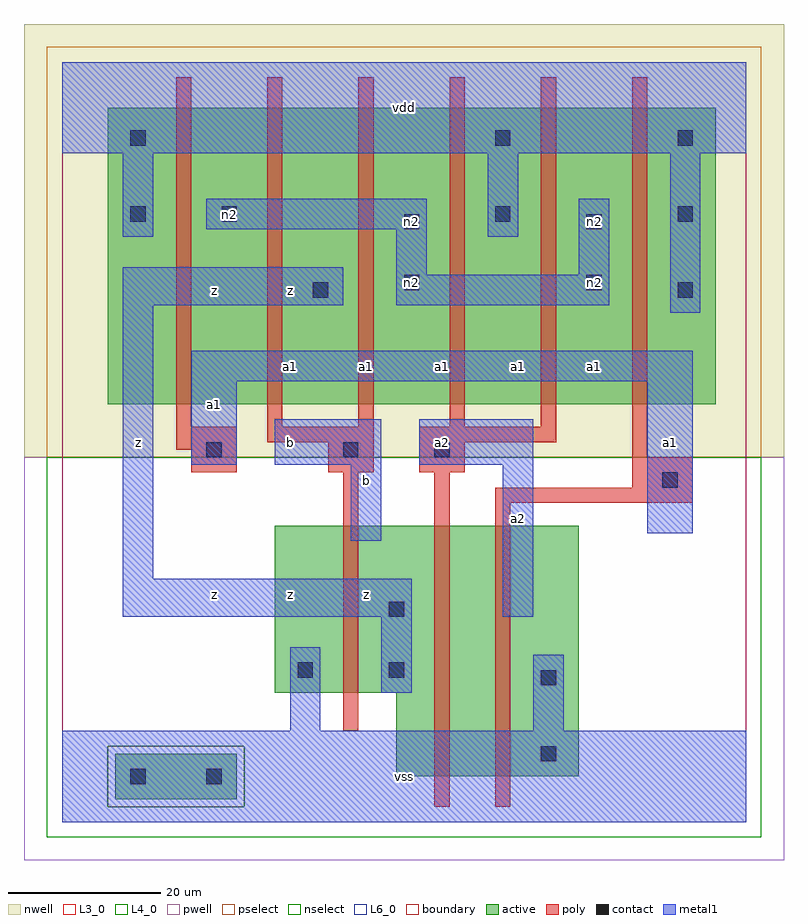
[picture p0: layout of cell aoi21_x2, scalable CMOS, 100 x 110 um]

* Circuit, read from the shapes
.subckt aoi21_x2 a1 a2 b n2 vdd vss z
M1 z b vss vss nfet w=22u l=2u
M2 n1 a2 z vss nfet w=33u l=2u
M3 vss a1 n1 vss nfet w=33u l=2u
M4 n2 a1 vdd n3 pfet w=39u l=2u m=2
M5 z b n2 n3 pfet w=39u l=2u m=2
M6 vdd a2 n2 n3 pfet w=39u l=2u m=2
.ends

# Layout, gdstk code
import gdstk
lib = gdstk.Library(unit=1e-6, precision=1e-09)
def R(c, l, rs):  # rectangles x0, y0, x1, y1
    for r in rs: c.add(gdstk.rectangle(r[:2], r[2:], *l))
def A(c, l, x, y, w, h, nx, ny, dx, dy):  # array of equal rectangles
    R(c, l, [(x+i*dx, y+j*dy, x+i*dx+w, y+j*dy+h) for i in range(nx) for j in range(ny)])
L3_0 = (3, 0)
L4_0 = (4, 0)
L6_0 = (6, 0)
contact = (25, 0)
pwell = (41, 0)
nwell = (42, 0)
active = (43, 0)
pselect = (44, 0)
nselect = (45, 0)
poly = (46, 0)
metal1 = (49, 0)
boundary = (63, 0)

aoi21_x2 = lib.new_cell('aoi21_x2')
R(aoi21_x2, L3_0, [(44,6,68,17), (28,17,68,39)])
R(aoi21_x2, L4_0, [(6,55,86,94)])
R(aoi21_x2, L6_0, [(7,3,23,9)])
A(aoi21_x2, contact, 81, 69, 2, 2, 1, 3, 0, 10)
R(aoi21_x2, contact, [(9,5,11,7), (19,5,21,7), (63,8,65,10), (63,18,65,20), (31,19,33,21), (43,19,45,21), (43,27,45,29), (79,44,81,46), (19,48,21,50), (37,48,39,50), (49,48,51,50), (33,69,35,71), (45,70,47,72), (69,70,71,72), (45,78,47,80), (69,78,71,80), (9,79,11,81), (21,79,23,81), (57,79,59,81), (9,89,11,91), (57,89,59,91)])
R(aoi21_x2, pwell, [(-5,-5,95,48)])
R(aoi21_x2, nwell, [(-5,48,95,105)])
R(aoi21_x2, active, [(7,3,23,9), (44,6,68,17), (28,17,68,39), (6,55,86,94)])
R(aoi21_x2, pselect, [(6,2,24,10), (-2,48,92,102)])
R(aoi21_x2, nselect, [(-2,-2,92,2), (-2,2,6,10), (24,2,92,10), (-2,10,92,48)])
A(aoi21_x2, poly, 15, 52, 2, 46, 5, 1, 12, 0)
R(aoi21_x2, poly, [(49,2,51,46), (57,2,59,42), (37,12,39,46), (57,42,83,44), (75,44,83,48), (17,46,23,49), (35,46,41,50), (47,46,53,50), (75,48,77,98), (15,49,23,52), (27,50,41,52), (47,50,65,52)])
R(aoi21_x2, metal1, [(0,0,90,12), (30,12,34,23), (62,12,66,22), (42,17,46,27), (8,27,46,32), (58,27,62,47), (8,32,12,68), (38,37,42,47), (77,38,83,58), (17,47,23,58), (28,47,42,53), (47,47,62,53), (17,58,83,62), (80,67,84,88), (8,68,37,73), (44,68,72,72), (44,72,48,78), (68,72,72,82), (8,77,12,88), (56,77,60,88), (19,78,48,82), (0,88,90,100)])
R(aoi21_x2, boundary, [(0,0,90,100)])
aoi21_x2.add(gdstk.Label('n2', (22,80), layer=49, texttype=0))
aoi21_x2.add(gdstk.Label('n2', (46,71), layer=49, texttype=0))
aoi21_x2.add(gdstk.Label('n2', (46,79), layer=49, texttype=0))
aoi21_x2.add(gdstk.Label('n2', (70,71), layer=49, texttype=0))
aoi21_x2.add(gdstk.Label('n2', (70,79), layer=49, texttype=0))
aoi21_x2.add(gdstk.Label('z', (10,50), layer=49, texttype=0))
aoi21_x2.add(gdstk.Label('z', (20,30), layer=49, texttype=0))
aoi21_x2.add(gdstk.Label('b', (40,45), layer=49, texttype=0))
aoi21_x2.add(gdstk.Label('z', (40,30), layer=49, texttype=0))
aoi21_x2.add(gdstk.Label('z', (30,30), layer=49, texttype=0))
aoi21_x2.add(gdstk.Label('b', (30,50), layer=49, texttype=0))
aoi21_x2.add(gdstk.Label('a1', (20,55), layer=49, texttype=0))
aoi21_x2.add(gdstk.Label('z', (20,70), layer=49, texttype=0))
aoi21_x2.add(gdstk.Label('a1', (40,60), layer=49, texttype=0))
aoi21_x2.add(gdstk.Label('z', (30,70), layer=49, texttype=0))
aoi21_x2.add(gdstk.Label('a1', (30,60), layer=49, texttype=0))
aoi21_x2.add(gdstk.Label('vss', (45,6), layer=49, texttype=0))
aoi21_x2.add(gdstk.Label('a2', (60,40), layer=49, texttype=0))
aoi21_x2.add(gdstk.Label('a2', (50,50), layer=49, texttype=0))
aoi21_x2.add(gdstk.Label('a1', (60,60), layer=49, texttype=0))
aoi21_x2.add(gdstk.Label('a1', (50,60), layer=49, texttype=0))
aoi21_x2.add(gdstk.Label('vdd', (45,94), layer=49, texttype=0))
aoi21_x2.add(gdstk.Label('a1', (80,50), layer=49, texttype=0))
aoi21_x2.add(gdstk.Label('a1', (70,60), layer=49, texttype=0))

lib.write_gds('aoi21_x2.gds')
